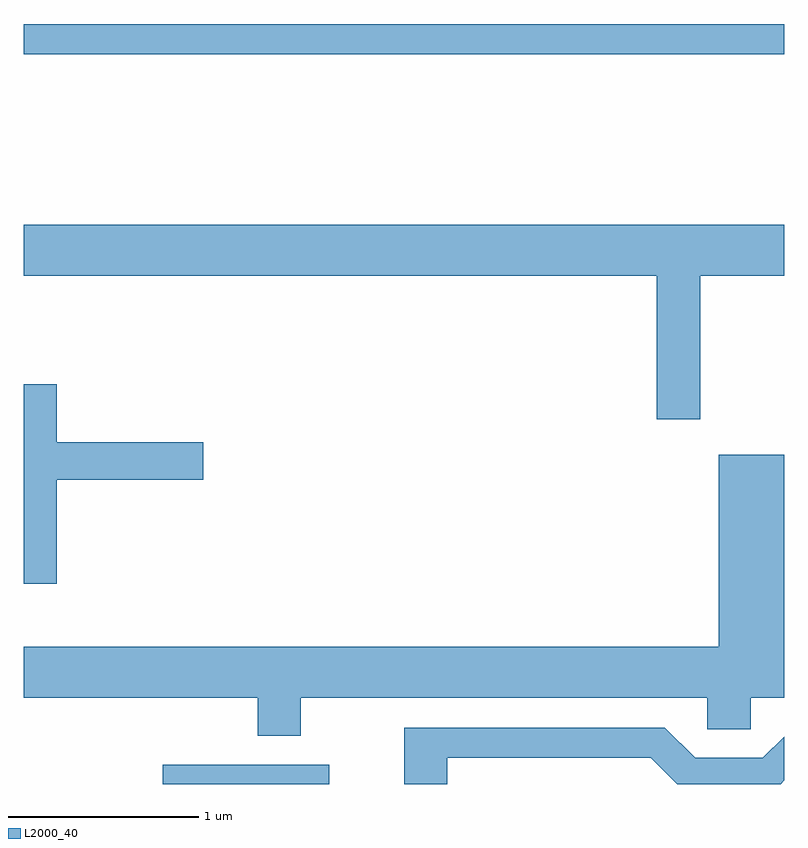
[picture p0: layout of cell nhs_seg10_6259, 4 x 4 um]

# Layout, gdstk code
import gdstk
lib = gdstk.Library(unit=1e-6, precision=1e-09)
def R(c, l, rs):  # rectangles x0, y0, x1, y1
    for r in rs: c.add(gdstk.rectangle(r[:2], r[2:], *l))
def P(c, l, *ps):  # polygons
    for p in ps: c.add(gdstk.Polygon(p, *l))
L2000_40 = (2000, 40)

nhs_seg10_6259 = lib.new_cell('nhs_seg10_6259')
R(nhs_seg10_6259, L2000_40, [(370.343,2164.522,371.219,2164.624), (369.611,2168.361,373.611,2168.519)])
P(nhs_seg10_6259, L2000_40, [(373.169,2167.196),(373.611,2167.196),(373.611,2167.464),(369.611,2167.464),(369.611,2167.196),(372.941,2167.196),(372.941,2166.441),(373.169,2166.441)],
  [(369.784,2166.121),(370.554,2166.121),(370.554,2166.319),(369.784,2166.319),(369.784,2166.624),(369.611,2166.624),(369.611,2165.576),(369.784,2165.576)],
  [(371.069,2164.976),(373.206,2164.976),(373.206,2164.811),(373.434,2164.811),(373.434,2164.976),(373.611,2164.976),(373.611,2166.254),(373.266,2166.254),(373.266,2165.244),(369.611,2165.244),(369.611,2164.976),(370.841,2164.976),(370.841,2164.776),(371.069,2164.776)],
  [(371.839,2164.661),(372.909,2164.661),(373.048,2164.522),(373.592,2164.522),(373.611,2164.541),(373.611,2164.771),(373.499,2164.659),(373.142,2164.659),(372.982,2164.819),(371.611,2164.819),(371.611,2164.522),(371.839,2164.522)])

lib.write_gds('nhs_seg10_6259.gds')
